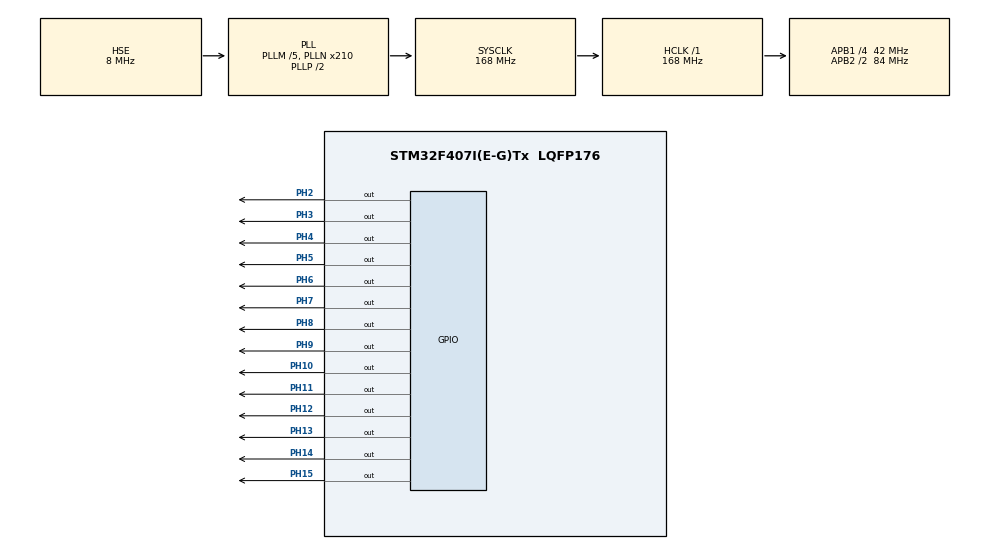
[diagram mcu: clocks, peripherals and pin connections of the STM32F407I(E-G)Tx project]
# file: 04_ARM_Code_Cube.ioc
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Mcu.Family=STM32F4
Mcu.Name=STM32F407I(E-G)Tx
Mcu.Package=LQFP176
NVIC.PriorityGroup=NVIC_PRIORITYGROUP_4
PH0-OSC_IN.Mode=HSE-External-Oscillator
PH0-OSC_IN.Signal=RCC_OSC_IN
PH1-OSC_OUT.Mode=HSE-External-Oscillator
PH1-OSC_OUT.Signal=RCC_OSC_OUT
PH10.GPIO_ModeDefaultOutputPP=GPIO_MODE_OUTPUT_PP
PH10.GPIO_PuPd=GPIO_PULLUP
PH10.GPIO_Speed=GPIO_SPEED_FAST
PH10.Signal=GPIO_Output
PH11.GPIO_ModeDefaultOutputPP=GPIO_MODE_OUTPUT_PP
PH11.GPIO_PuPd=GPIO_PULLUP
PH11.GPIO_Speed=GPIO_SPEED_FAST
PH11.Signal=GPIO_Output
PH12.GPIO_ModeDefaultOutputPP=GPIO_MODE_OUTPUT_PP
PH12.GPIO_PuPd=GPIO_PULLUP
PH12.GPIO_Speed=GPIO_SPEED_FAST
PH12.Signal=GPIO_Output
PH13.GPIO_ModeDefaultOutputPP=GPIO_MODE_OUTPUT_PP
PH13.GPIO_PuPd=GPIO_PULLUP
PH13.GPIO_Speed=GPIO_SPEED_FAST
PH13.Signal=GPIO_Output
PH14.GPIO_ModeDefaultOutputPP=GPIO_MODE_OUTPUT_PP
PH14.GPIO_PuPd=GPIO_PULLUP
PH14.GPIO_Speed=GPIO_SPEED_FAST
PH14.Signal=GPIO_Output
PH15.GPIO_ModeDefaultOutputPP=GPIO_MODE_OUTPUT_PP
PH15.GPIO_PuPd=GPIO_PULLUP
PH15.GPIO_Speed=GPIO_SPEED_FAST
PH15.Signal=GPIO_Output
PH2.GPIO_ModeDefaultOutputPP=GPIO_MODE_OUTPUT_PP
PH2.GPIO_PuPd=GPIO_PULLUP
PH2.GPIO_Speed=GPIO_SPEED_FAST
PH2.Signal=GPIO_Output
PH3.GPIO_ModeDefaultOutputPP=GPIO_MODE_OUTPUT_PP
PH3.GPIO_PuPd=GPIO_PULLUP
PH3.GPIO_Speed=GPIO_SPEED_FAST
PH3.Signal=GPIO_Output
PH4.GPIO_ModeDefaultOutputPP=GPIO_MODE_OUTPUT_PP
PH4.GPIO_PuPd=GPIO_PULLUP
PH4.GPIO_Speed=GPIO_SPEED_FAST
PH4.Signal=GPIO_Output
PH5.GPIO_ModeDefaultOutputPP=GPIO_MODE_OUTPUT_PP
PH5.GPIO_PuPd=GPIO_PULLUP
PH5.GPIO_Speed=GPIO_SPEED_FAST
PH5.Signal=GPIO_Output
PH6.GPIO_ModeDefaultOutputPP=GPIO_MODE_OUTPUT_PP
PH6.GPIO_PuPd=GPIO_PULLUP
PH6.GPIO_Speed=GPIO_SPEED_FAST
PH6.Signal=GPIO_Output
PH7.GPIO_ModeDefaultOutputPP=GPIO_MODE_OUTPUT_PP
PH7.GPIO_PuPd=GPIO_PULLUP
PH7.GPIO_Speed=GPIO_SPEED_FAST
PH7.Signal=GPIO_Output
PH8.GPIO_ModeDefaultOutputPP=GPIO_MODE_OUTPUT_PP
PH8.GPIO_PuPd=GPIO_PULLUP
PH8.GPIO_Speed=GPIO_SPEED_FAST
PH8.Signal=GPIO_Output
PH9.GPIO_ModeDefaultOutputPP=GPIO_MODE_OUTPUT_PP
PH9.GPIO_PuPd=GPIO_PULLUP
PH9.GPIO_Speed=GPIO_SPEED_FAST
PH9.Signal=GPIO_Output
ProjectManager.TargetToolchain=EWARM
RCC.48MHZClocksFreq_Value=84000000
RCC.AHBFreq_Value=168000000
RCC.APB1CLKDivider=RCC_HCLK_DIV4
RCC.APB1Freq_Value=42000000
RCC.APB1TimFreq_Value=84000000
RCC.APB2CLKDivider=RCC_HCLK_DIV2
RCC.APB2Freq_Value=84000000
RCC.APB2TimFreq_Value=168000000
RCC.CortexFreq_Value=168000000
RCC.HCLKFreq_Value=168000000
RCC.HSE_VALUE=8000000
RCC.HSI_VALUE=16000000
RCC.LSE_VALUE=32768
RCC.PLLM=5
RCC.PLLN=210
RCC.PLLSourceVirtual=RCC_PLLSOURCE_HSE
RCC.SYSCLKFreq_VALUE=168000000
RCC.SYSCLKSource=RCC_SYSCLKSOURCE_PLLCLK
RCC.VCOOutputFreq_Value=336000000
board=int

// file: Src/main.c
/**
  ******************************************************************************
  * File Name          : main.c
  * Description        : Main program body
  ******************************************************************************
  *
  * COPYRIGHT(c) 2015 STMicroelectronics
  *
  * Redistribution and use in source and binary forms, with or without modification,
  * are permitted provided that the following conditions are met:
  *   1. Redistributions of source code must retain the above copyright notice,
  *      this list of conditions and the following disclaimer.
  *   2. Redistributions in binary form must reproduce the above copyright notice,
  *      this list of conditions and the following disclaimer in the documentation
  *      and/or other materials provided with the distribution.
  *   3. Neither the name of STMicroelectronics nor the names of its contributors
  *      may be used to endorse or promote products derived from this software
  *      without specific prior written permission.
  *
  * THIS SOFTWARE IS PROVIDED BY THE COPYRIGHT HOLDERS AND CONTRIBUTORS "AS IS"
  * AND ANY EXPRESS OR IMPLIED WARRANTIES, INCLUDING, BUT NOT LIMITED TO, THE
  * IMPLIED WARRANTIES OF MERCHANTABILITY AND FITNESS FOR A PARTICULAR PURPOSE ARE
  * DISCLAIMED. IN NO EVENT SHALL THE COPYRIGHT HOLDER OR CONTRIBUTORS BE LIABLE
  * FOR ANY DIRECT, INDIRECT, INCIDENTAL, SPECIAL, EXEMPLARY, OR CONSEQUENTIAL
  * DAMAGES (INCLUDING, BUT NOT LIMITED TO, PROCUREMENT OF SUBSTITUTE GOODS OR
  * SERVICES; LOSS OF USE, DATA, OR PROFITS; OR BUSINESS INTERRUPTION) HOWEVER
  * CAUSED AND ON ANY THEORY OF LIABILITY, WHETHER IN CONTRACT, STRICT LIABILITY,
  * OR TORT (INCLUDING NEGLIGENCE OR OTHERWISE) ARISING IN ANY WAY OUT OF THE USE
  * OF THIS SOFTWARE, EVEN IF ADVISED OF THE POSSIBILITY OF SUCH DAMAGE.
  *
  ******************************************************************************
  */
#include "stm32f4xx_hal.h"

/* USER CODE BEGIN PV */
/* Private variables ---------------------------------------------------------*/

/* USER CODE END PV */

void SystemClock_Config(void);
static void MX_GPIO_Init(void);

/* USER CODE BEGIN PFP */
/* Private function prototypes -----------------------------------------------*/

/* USER CODE END PFP */

/* USER CODE BEGIN 0 */

static volatile uint32_t TimingDelay;

void TimingDelay_Decrement(void)
{
  if(TimingDelay != 0x00)
  {
    TimingDelay--;
  }
}

void SysTick_Handler(void)
{
  TimingDelay_Decrement();
}

static volatile uint32_t TimingDelay;

void Delay(uint32_t nTime)
{
  TimingDelay = nTime;
  while(TimingDelay != 0);
}

void delay_s(void)
{
  Delay(4000000);
}
void delay_ms(void)
{
  Delay(4000);
}
void delay_us(void)
{
  Delay(4);
}
void delay_200ns(void)
{
  Delay(1);
}

void PUT(int i){
	if(i==1){
		HAL_GPIO_WritePin(GPIOH, 0xfffc, GPIO_PIN_RESET);
                delay_200ns();
                delay_200ns();
                delay_200ns();
                delay_200ns();
                HAL_GPIO_WritePin(GPIOH, 0xfffc, GPIO_PIN_SET);
                delay_200ns();
                delay_200ns();
	}
	else if(i==0){
		HAL_GPIO_WritePin(GPIOH, 0xfffc, GPIO_PIN_RESET);
                delay_200ns();
                delay_200ns();
                HAL_GPIO_WritePin(GPIOH, 0xfffc, GPIO_PIN_SET);
                delay_200ns();
                delay_200ns();
                delay_200ns();
                delay_200ns();
	}
	else if(i==2){
		HAL_GPIO_WritePin(GPIOH, 0xfffc, GPIO_PIN_SET);
        for(i=0;i<60;i++){
                delay_us();
        }

	}

}

/* USER CODE END 0 */

int main(void)
{

  /* MCU Configuration----------------------------------------------------------*/

  /* Reset of all peripherals, Initializes the Flash interface and the Systick. */
  HAL_Init();

  /* Configure the system clock */
  SystemClock_Config();

  /* Initialize all configured peripherals */
  MX_GPIO_Init();

  /* Infinite loop */
  while (1)
  {

  /* USER CODE BEGIN 3 */
  /*
  PUT(0);
  PUT(0);
  PUT(0);
  PUT(0);
  PUT(0);
  PUT(0);
  PUT(0);
  PUT(0);

  PUT(0);
  PUT(0);
  PUT(0);
  PUT(0);
  PUT(0);
  PUT(0);
  PUT(0);
  PUT(0);

  PUT(1);
  PUT(0);
  PUT(0);
  PUT(0);
  PUT(0);
  PUT(0);
  PUT(0);
  PUT(0);
  */

  HAL_GPIO_WritePin(GPIOH, 0xfffc, GPIO_PIN_SET);
  delay_s();
  //PUT(2);
  HAL_GPIO_WritePin(GPIOH, 0xfffc, GPIO_PIN_RESET);
  delay_s();
  }
  /* USER CODE END 3 */

}

/** System Clock Configuration
*/
void SystemClock_Config(void)
{

  RCC_OscInitTypeDef RCC_OscInitStruct;
  RCC_ClkInitTypeDef RCC_ClkInitStruct;

  __PWR_CLK_ENABLE();

  __HAL_PWR_VOLTAGESCALING_CONFIG(PWR_REGULATOR_VOLTAGE_SCALE1);

  RCC_OscInitStruct.OscillatorType = RCC_OSCILLATORTYPE_HSE;
  RCC_OscInitStruct.HSEState = RCC_HSE_ON;
  RCC_OscInitStruct.PLL.PLLState = RCC_PLL_ON;
  RCC_OscInitStruct.PLL.PLLSource = RCC_PLLSOURCE_HSE;
  RCC_OscInitStruct.PLL.PLLM = 5;
  RCC_OscInitStruct.PLL.PLLN = 210;
  RCC_OscInitStruct.PLL.PLLP = RCC_PLLP_DIV2;
  RCC_OscInitStruct.PLL.PLLQ = 4;
  HAL_RCC_OscConfig(&RCC_OscInitStruct);

  RCC_ClkInitStruct.ClockType = RCC_CLOCKTYPE_SYSCLK|RCC_CLOCKTYPE_PCLK1
                              |RCC_CLOCKTYPE_PCLK2;
  RCC_ClkInitStruct.SYSCLKSource = RCC_SYSCLKSOURCE_PLLCLK;
  RCC_ClkInitStruct.AHBCLKDivider = RCC_SYSCLK_DIV1;
  RCC_ClkInitStruct.APB1CLKDivider = RCC_HCLK_DIV4;
  RCC_ClkInitStruct.APB2CLKDivider = RCC_HCLK_DIV2;
  HAL_RCC_ClockConfig(&RCC_ClkInitStruct, FLASH_LATENCY_5);

  HAL_SYSTICK_Config(HAL_RCC_GetHCLKFreq()/4000000);

  HAL_SYSTICK_CLKSourceConfig(SYSTICK_CLKSOURCE_HCLK);

}

/** Configure pins as
        * Analog
        * Input
        * Output
        * EVENT_OUT
        * EXTI
*/
void MX_GPIO_Init(void)
{

  GPIO_InitTypeDef GPIO_InitStruct;

  /* GPIO Ports Clock Enable */
  __GPIOH_CLK_ENABLE();

  /*Configure GPIO pins : PH2 PH3 PH4 PH5
                           PH6 PH7 PH8 PH9
                           PH10 PH11 PH12 PH13
                           PH14 PH15 */
  GPIO_InitStruct.Pin = GPIO_PIN_2|GPIO_PIN_3|GPIO_PIN_4|GPIO_PIN_5
                          |GPIO_PIN_6|GPIO_PIN_7|GPIO_PIN_8|GPIO_PIN_9
                          |GPIO_PIN_10|GPIO_PIN_11|GPIO_PIN_12|GPIO_PIN_13
                          |GPIO_PIN_14|GPIO_PIN_15;
  GPIO_InitStruct.Mode = GPIO_MODE_OUTPUT_PP;
  GPIO_InitStruct.Pull = GPIO_PULLUP;
  GPIO_InitStruct.Speed = GPIO_SPEED_FAST;
  HAL_GPIO_Init(GPIOH, &GPIO_InitStruct);

}

/************************ (C) COPYRIGHT STMicroelectronics *****END OF FILE****/
